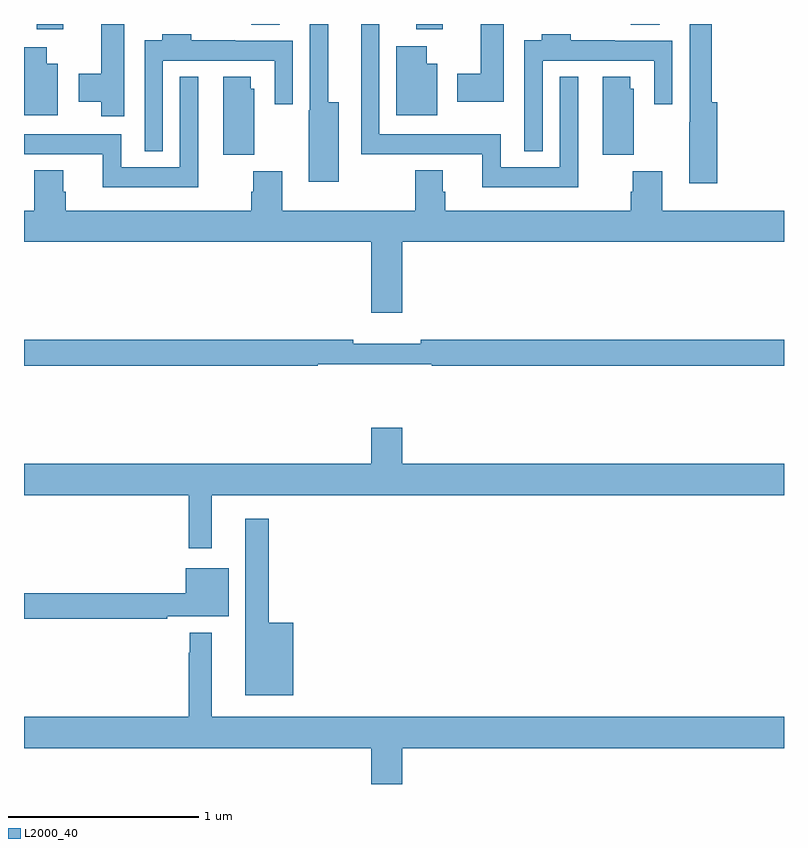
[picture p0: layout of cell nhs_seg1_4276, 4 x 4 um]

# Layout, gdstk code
import gdstk
lib = gdstk.Library(unit=1e-6, precision=1e-09)
def R(c, l, rs):  # rectangles x0, y0, x1, y1
    for r in rs: c.add(gdstk.rectangle(r[:2], r[2:], *l))
def P(c, l, *ps):  # polygons
    for p in ps: c.add(gdstk.Polygon(p, *l))
L2000_40 = (2000, 40)

nhs_seg1_4276 = lib.new_cell('nhs_seg1_4276')
R(nhs_seg1_4276, L2000_40, [(343.067,566.172,343.207,566.199), (345.065,566.172,345.205,566.199), (344.195,566.195,344.347,566.199), (346.193,566.195,346.345,566.199)])
P(nhs_seg1_4276, L2000_40, [(343.528,566.199),(343.406,566.199),(343.406,565.938),(343.289,565.938),(343.289,565.79),(343.406,565.79),(343.406,565.713),(343.528,565.713)],
  [(345.526,566.199),(345.404,566.199),(345.404,565.938),(345.279,565.938),(345.279,565.79),(345.526,565.79)],
  [(345.916,565.921),(345.819,565.921),(345.819,565.444),(345.51,565.444),(345.51,565.618),(344.871,565.618),(344.871,566.197),(344.774,566.197),(344.774,565.846),(344.775,565.846),(344.775,565.514),(345.413,565.514),(345.413,565.34),(345.916,565.34)],
  [(346.649,565.786),(346.619,565.786),(346.619,566.197),(346.503,566.197),(346.503,565.682),(346.502,565.682),(346.502,565.362),(346.649,565.362)],
  [(344.656,565.786),(344.602,565.786),(344.602,566.197),(344.505,566.197),(344.505,565.746),(344.498,565.746),(344.498,565.37),(344.656,565.37)],
  [(345.729,566.006),(346.317,566.006),(346.317,565.776),(346.413,565.776),(346.413,566.11),(346.109,566.11),(346.109,566.113),(345.878,566.113),(345.878,566.146),(345.725,566.146),(345.725,566.113),(345.633,566.113),(345.633,565.529),(345.729,565.529)],
  [(343.731,566.006),(344.319,566.006),(344.319,565.776),(344.415,565.776),(344.415,566.11),(344.111,566.11),(344.111,566.113),(343.88,566.113),(343.88,566.146),(343.727,566.146),(343.727,566.113),(343.635,566.113),(343.635,565.529),(343.731,565.529)],
  [(345.175,565.99),(345.121,565.99),(345.121,566.083),(344.96,566.083),(344.96,565.718),(345.175,565.718)],
  [(343.177,565.99),(343.12,565.99),(343.12,566.077),(343,566.077),(343,565.718),(343.177,565.718)],
  [(346.21,565.857),(346.192,565.857),(346.192,565.921),(346.046,565.921),(346.046,565.51),(346.21,565.51)],
  [(344.212,565.857),(344.194,565.857),(344.194,565.921),(344.048,565.921),(344.048,565.51),(344.212,565.51)],
  [(343.918,565.921),(343.821,565.921),(343.821,565.444),(343.512,565.444),(343.512,565.618),(343,565.618),(343,565.514),(343.415,565.514),(343.415,565.34),(343.918,565.34)],
  [(344.992,565.052),(347,565.052),(347,565.216),(346.358,565.216),(346.358,565.425),(346.205,565.425),(346.205,565.316),(346.193,565.316),(346.193,565.216),(345.218,565.216),(345.218,565.317),(345.205,565.317),(345.205,565.429),(345.058,565.429),(345.058,565.216),(344.36,565.216),(344.36,565.425),(344.207,565.425),(344.207,565.316),(344.195,565.316),(344.195,565.216),(343.22,565.216),(343.22,565.317),(343.207,565.317),(343.207,565.429),(343.055,565.429),(343.055,565.216),(343,565.216),(343,565.052),(344.828,565.052),(344.828,564.678),(344.992,564.678)],
  [(344.545,564.408),(345.145,564.408),(345.145,564.4),(347,564.4),(347,564.536),(345.088,564.536),(345.088,564.517),(344.732,564.517),(344.732,564.536),(343,564.536),(343,564.4),(344.545,564.4)],
  [(343.987,563.72),(347,563.72),(347,563.884),(344.992,563.884),(344.992,564.073),(344.828,564.073),(344.828,563.884),(343,563.884),(343,563.72),(343.866,563.72),(343.866,563.439),(343.987,563.439)],
  [(344.416,563.047),(344.287,563.047),(344.287,563.596),(344.165,563.596),(344.165,562.667),(344.416,562.667)],
  [(343.754,563.081),(344.077,563.081),(344.077,563.335),(343.85,563.335),(343.85,563.204),(343,563.204),(343,563.068),(343.754,563.068)],
  [(344.992,562.388),(347,562.388),(347,562.552),(343.987,562.552),(343.987,562.996),(343.872,562.996),(343.872,562.889),(343.866,562.889),(343.866,562.552),(343,562.552),(343,562.388),(344.828,562.388),(344.828,562.199),(344.992,562.199)])

lib.write_gds('nhs_seg1_4276.gds')
